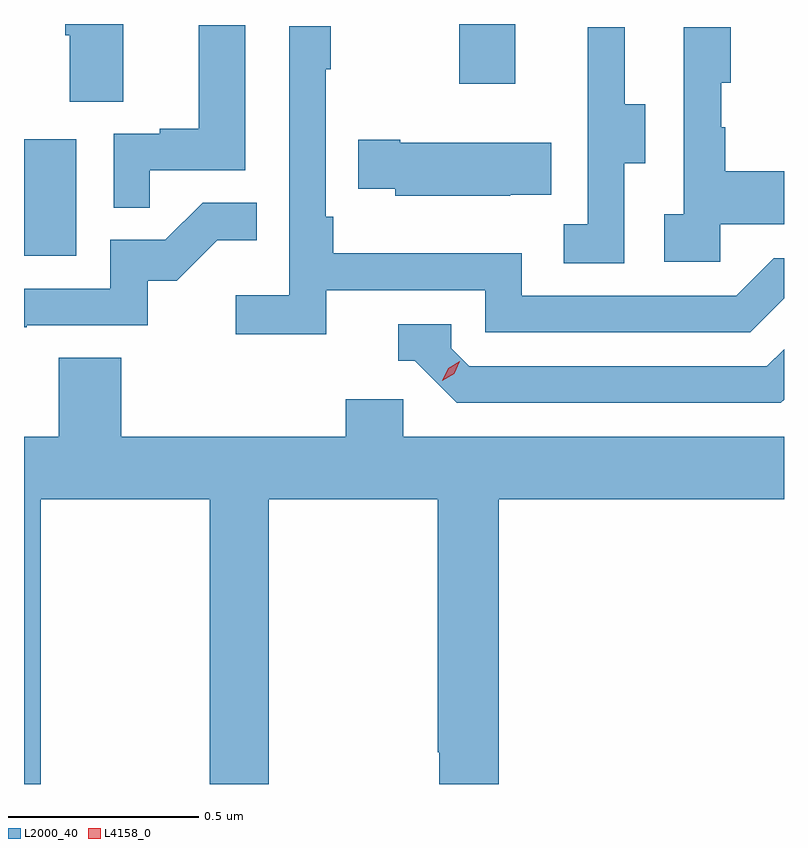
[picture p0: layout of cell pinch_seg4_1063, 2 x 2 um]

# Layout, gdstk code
import gdstk
lib = gdstk.Library(unit=1e-6, precision=1e-09)
def R(c, l, rs):  # rectangles x0, y0, x1, y1
    for r in rs: c.add(gdstk.rectangle(r[:2], r[2:], *l))
def P(c, l, *ps):  # polygons
    for p in ps: c.add(gdstk.Polygon(p, *l))
L2000_40 = (2000, 40)
L4158_0 = (4158, 0)

pinch_seg4_1063 = lib.new_cell('pinch_seg4_1063')
R(pinch_seg4_1063, L2000_40, [(802.486,754.836,802.624,755.143), (803.632,755.289,803.779,755.446)])
P(pinch_seg4_1063, L2000_40, [(802.747,755.446),(802.595,755.446),(802.595,755.416),(802.607,755.416),(802.607,755.242),(802.747,755.242)],
  [(802.817,755.061),(803.068,755.061),(803.068,755.443),(802.946,755.443),(802.946,755.17),(802.843,755.17),(802.843,755.157),(802.722,755.157),(802.722,754.963),(802.817,754.963)],
  [(803.282,754.746),(803.7,754.746),(803.7,754.635),(804.397,754.635),(804.486,754.724),(804.486,754.83),(804.459,754.83),(804.36,754.731),(803.796,754.731),(803.796,754.843),(803.3,754.843),(803.3,754.939),(803.28,754.939),(803.28,755.327),(803.293,755.327),(803.293,755.44),(803.184,755.44),(803.184,754.732),(803.043,754.732),(803.043,754.63),(803.282,754.63)],
  [(804.066,755.08),(804.121,755.08),(804.121,755.235),(804.067,755.235),(804.067,755.437),(803.969,755.437),(803.969,755.223),(803.97,755.223),(803.97,754.919),(803.907,754.919),(803.907,754.816),(804.066,754.816)],
  [(804.318,754.919),(804.486,754.919),(804.486,755.059),(804.331,755.059),(804.331,755.174),(804.321,755.174),(804.321,755.292),(804.346,755.292),(804.346,755.437),(804.222,755.437),(804.222,754.946),(804.171,754.946),(804.171,754.821),(804.318,754.821)],
  [(803.765,754.997),(803.873,754.997),(803.873,755.134),(803.476,755.134),(803.476,755.142),(803.365,755.142),(803.365,755.012),(803.463,755.012),(803.463,754.994),(803.765,754.994)],
  [(802.493,754.653),(802.812,754.653),(802.812,754.77),(802.888,754.77),(802.995,754.877),(803.099,754.877),(803.099,754.976),(802.956,754.976),(802.858,754.878),(802.713,754.878),(802.713,754.749),(802.486,754.749),(802.486,754.648),(802.493,754.648)],
  [(804.486,754.457),(804.486,754.59),(804.441,754.545),(803.658,754.545),(803.61,754.593),(803.61,754.656),(803.471,754.656),(803.471,754.56),(803.514,754.56),(803.625,754.449),(804.478,754.449)],
  [(802.53,754.196),(802.975,754.196),(802.975,753.446),(803.13,753.446),(803.13,754.196),(803.575,754.196),(803.575,753.529),(803.579,753.529),(803.579,753.446),(803.735,753.446),(803.735,754.196),(804.486,754.196),(804.486,754.36),(803.484,754.36),(803.484,754.458),(803.333,754.458),(803.333,754.36),(802.742,754.36),(802.742,754.568),(802.577,754.568),(802.577,754.36),(802.486,754.36),(802.486,753.446),(802.53,753.446)])
P(pinch_seg4_1063, L4158_0, [(803.587,754.507),(803.587,754.507),(803.603,754.54),(803.633,754.559),(803.633,754.559),(803.633,754.559),(803.618,754.526),(803.587,754.507)])

lib.write_gds('pinch_seg4_1063.gds')
